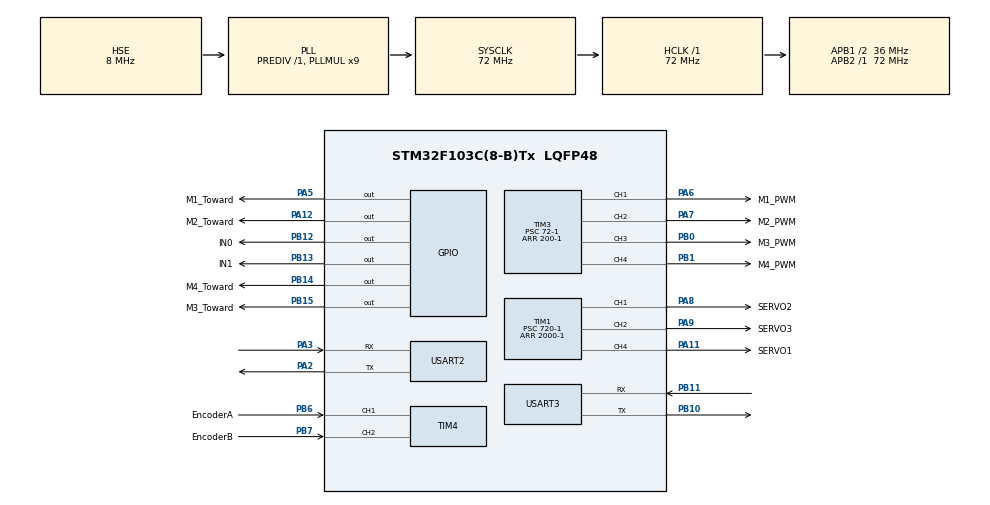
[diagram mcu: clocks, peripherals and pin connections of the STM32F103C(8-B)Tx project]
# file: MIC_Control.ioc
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Dma.Request0=USART2_RX
Dma.Request1=USART2_TX
Dma.Request2=USART3_RX
Dma.Request3=USART3_TX
Dma.USART2_RX.0.Direction=DMA_PERIPH_TO_MEMORY
Dma.USART2_RX.0.Instance=DMA1_Channel6
Dma.USART2_RX.0.MemDataAlignment=DMA_MDATAALIGN_BYTE
Dma.USART2_RX.0.MemInc=DMA_MINC_ENABLE
Dma.USART2_RX.0.Mode=DMA_NORMAL
Dma.USART2_RX.0.PeriphDataAlignment=DMA_PDATAALIGN_BYTE
Dma.USART2_RX.0.PeriphInc=DMA_PINC_DISABLE
Dma.USART2_RX.0.Priority=DMA_PRIORITY_LOW
Dma.USART2_TX.1.Direction=DMA_MEMORY_TO_PERIPH
Dma.USART2_TX.1.Instance=DMA1_Channel7
Dma.USART2_TX.1.MemDataAlignment=DMA_MDATAALIGN_BYTE
Dma.USART2_TX.1.MemInc=DMA_MINC_ENABLE
Dma.USART2_TX.1.Mode=DMA_NORMAL
Dma.USART2_TX.1.PeriphDataAlignment=DMA_PDATAALIGN_BYTE
Dma.USART2_TX.1.PeriphInc=DMA_PINC_DISABLE
Dma.USART2_TX.1.Priority=DMA_PRIORITY_LOW
Dma.USART3_RX.2.Direction=DMA_PERIPH_TO_MEMORY
Dma.USART3_RX.2.Instance=DMA1_Channel3
Dma.USART3_RX.2.MemDataAlignment=DMA_MDATAALIGN_BYTE
Dma.USART3_RX.2.MemInc=DMA_MINC_ENABLE
Dma.USART3_RX.2.Mode=DMA_NORMAL
Dma.USART3_RX.2.PeriphDataAlignment=DMA_PDATAALIGN_BYTE
Dma.USART3_RX.2.PeriphInc=DMA_PINC_DISABLE
Dma.USART3_RX.2.Priority=DMA_PRIORITY_LOW
Dma.USART3_TX.3.Direction=DMA_MEMORY_TO_PERIPH
Dma.USART3_TX.3.Instance=DMA1_Channel2
Dma.USART3_TX.3.MemDataAlignment=DMA_MDATAALIGN_BYTE
Dma.USART3_TX.3.MemInc=DMA_MINC_ENABLE
Dma.USART3_TX.3.Mode=DMA_NORMAL
Dma.USART3_TX.3.PeriphDataAlignment=DMA_PDATAALIGN_BYTE
Dma.USART3_TX.3.PeriphInc=DMA_PINC_DISABLE
Dma.USART3_TX.3.Priority=DMA_PRIORITY_LOW
Mcu.Family=STM32F1
Mcu.Name=STM32F103C(8-B)Tx
Mcu.Package=LQFP48
NVIC.DMA1_Channel2_IRQn=true\:0\:0\:false\:false\:true\:false\:true\:true
NVIC.DMA1_Channel3_IRQn=true\:0\:0\:false\:false\:true\:false\:true\:true
NVIC.DMA1_Channel6_IRQn=true\:0\:0\:false\:false\:true\:false\:true\:true
NVIC.DMA1_Channel7_IRQn=true\:0\:0\:false\:false\:true\:false\:true\:true
NVIC.PriorityGroup=NVIC_PRIORITYGROUP_4
NVIC.TIM2_IRQn=true\:0\:0\:false\:false\:true\:true\:true\:true
NVIC.USART2_IRQn=true\:0\:0\:true\:false\:true\:false\:true\:true
NVIC.USART3_IRQn=true\:2\:0\:true\:false\:true\:false\:true\:true
PA11.GPIO_Label=SERVO1
PA11.Signal=S_TIM1_CH4
PA12.GPIO_Label=M2_Toward
PA12.GPIO_PuPd=GPIO_PULLUP
PA12.GPIO_Speed=GPIO_SPEED_FREQ_HIGH
PA12.PinState=GPIO_PIN_RESET
PA12.Signal=GPIO_Output
PA13.Mode=Serial_Wire
PA13.Signal=SYS_JTMS-SWDIO
PA14.Mode=Serial_Wire
PA14.Signal=SYS_JTCK-SWCLK
PA2.Mode=Asynchronous
PA2.Signal=USART2_TX
PA3.Mode=Asynchronous
PA3.Signal=USART2_RX
PA5.GPIO_Label=M1_Toward
PA5.GPIO_PuPd=GPIO_PULLUP
PA5.GPIO_Speed=GPIO_SPEED_FREQ_HIGH
PA5.Signal=GPIO_Output
PA6.GPIO_Label=M1_PWM
PA6.Signal=S_TIM3_CH1
PA7.GPIO_Label=M2_PWM
PA7.Signal=S_TIM3_CH2
PA8.GPIO_Label=SERVO2
PA8.Signal=S_TIM1_CH1
PA9.GPIO_Label=SERVO3
PA9.Signal=S_TIM1_CH2
PB0.GPIO_Label=M3_PWM
PB0.Signal=S_TIM3_CH3
PB1.GPIO_Label=M4_PWM
PB1.Signal=S_TIM3_CH4
PB10.Mode=Asynchronous
PB10.Signal=USART3_TX
PB11.Mode=Asynchronous
PB11.Signal=USART3_RX
PB12.GPIO_Label=IN0
PB12.GPIO_ModeDefaultOutputPP=GPIO_MODE_OUTPUT_PP
PB12.GPIO_PuPd=GPIO_NOPULL
PB12.GPIO_Speed=GPIO_SPEED_FREQ_LOW
PB12.PinState=GPIO_PIN_SET
PB12.Signal=GPIO_Output
PB13.GPIO_Label=IN1
PB13.GPIO_ModeDefaultOutputPP=GPIO_MODE_OUTPUT_PP
PB13.GPIO_PuPd=GPIO_NOPULL
PB13.GPIO_Speed=GPIO_SPEED_FREQ_LOW
PB13.PinState=GPIO_PIN_SET
PB13.Signal=GPIO_Output
PB14.GPIO_Label=M4_Toward
PB14.GPIO_PuPd=GPIO_PULLUP
PB14.GPIO_Speed=GPIO_SPEED_FREQ_HIGH
PB14.Signal=GPIO_Output
PB15.GPIO_Label=M3_Toward
PB15.GPIO_PuPd=GPIO_PULLUP
PB15.GPIO_Speed=GPIO_SPEED_FREQ_HIGH
PB15.Signal=GPIO_Output
PB6.GPIO_Label=EncoderA
PB6.Signal=S_TIM4_CH1
PB7.GPIO_Label=EncoderB
PB7.Signal=S_TIM4_CH2
PD0-OSC_IN.Mode=HSE-External-Oscillator
PD0-OSC_IN.Signal=RCC_OSC_IN
PD1-OSC_OUT.Mode=HSE-External-Oscillator
PD1-OSC_OUT.Signal=RCC_OSC_OUT
ProjectManager.HeapSize=0x200
ProjectManager.StackSize=0x400
ProjectManager.TargetToolchain=MDK-ARM V5.32
RCC.AHBFreq_Value=72000000
RCC.APB1CLKDivider=RCC_HCLK_DIV2
RCC.APB1Freq_Value=36000000
RCC.APB1TimFreq_Value=72000000
RCC.APB2Freq_Value=72000000
RCC.APB2TimFreq_Value=72000000
RCC.HCLKFreq_Value=72000000
RCC.PLLMUL=RCC_PLL_MUL9
RCC.PLLSourceVirtual=RCC_PLLSOURCE_HSE
RCC.SYSCLKFreq_VALUE=72000000
RCC.SYSCLKSource=RCC_SYSCLKSOURCE_PLLCLK
RCC.USBFreq_Value=72000000
SH.S_TIM1_CH1.0=TIM1_CH1,PWM Generation1 CH1
SH.S_TIM1_CH2.0=TIM1_CH2,PWM Generation2 CH2
SH.S_TIM1_CH4.0=TIM1_CH4,PWM Generation4 CH4
SH.S_TIM3_CH1.0=TIM3_CH1,PWM Generation1 CH1
SH.S_TIM3_CH2.0=TIM3_CH2,PWM Generation2 CH2
SH.S_TIM3_CH3.0=TIM3_CH3,PWM Generation3 CH3
SH.S_TIM3_CH4.0=TIM3_CH4,PWM Generation4 CH4
SH.S_TIM4_CH1.0=TIM4_CH1,Encoder_Interface
SH.S_TIM4_CH2.0=TIM4_CH2,Encoder_Interface
TIM1.Channel-PWM\ Generation1\ CH1=TIM_CHANNEL_1
TIM1.Channel-PWM\ Generation2\ CH2=TIM_CHANNEL_2
TIM1.Channel-PWM\ Generation4\ CH4=TIM_CHANNEL_4
TIM1.Period=2000-1
TIM1.Prescaler=720-1
TIM2.Period=1000-1
TIM2.Prescaler=720-1
TIM3.Channel-PWM\ Generation1\ CH1=TIM_CHANNEL_1
TIM3.Channel-PWM\ Generation2\ CH2=TIM_CHANNEL_2
TIM3.Channel-PWM\ Generation3\ CH3=TIM_CHANNEL_3
TIM3.Channel-PWM\ Generation4\ CH4=TIM_CHANNEL_4
TIM3.OCMode_PWM-PWM\ Generation1\ CH1=TIM_OCMODE_PWM2
TIM3.OCMode_PWM-PWM\ Generation2\ CH2=TIM_OCMODE_PWM2
TIM3.OCMode_PWM-PWM\ Generation3\ CH3=TIM_OCMODE_PWM2
TIM3.OCMode_PWM-PWM\ Generation4\ CH4=TIM_OCMODE_PWM2
TIM3.Period=200-1
TIM3.Prescaler=72-1
TIM4.IC1Filter=15
TIM4.IC2Filter=15
USART2.VirtualMode=VM_ASYNC
USART3.VirtualMode=VM_ASYNC
VP_TIM2_VS_ClockSourceINT.Mode=Internal
VP_TIM3_VS_ClockSourceINT.Mode=Internal
board=custom

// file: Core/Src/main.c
/* USER CODE BEGIN Header */
/**
 ******************************************************************************
 * @file           : main.c
 * @brief          : Main program body
 ******************************************************************************
 * @attention
 *
 * Copyright (c) 2024 STMicroelectronics.
 * All rights reserved.
 *
 * This software is licensed under terms that can be found in the LICENSE file
 * in the root directory of this software component.
 * If no LICENSE file comes with this software, it is provided AS-IS.
 *
 ******************************************************************************
 */
/* USER CODE END Header */
#include "main.h"
#include "dma.h"
#include "tim.h"
#include "usart.h"
#include "gpio.h"

/* USER CODE BEGIN Includes */
#include "ESP32.h"
#include "Motor.h"
#include "UART_ROS.h"
#include "Car_Solution.h"

//test
#include <stdio.h>
#include <string.h>

char TestSpeed[20];
//test

/* USER CODE END Includes */

void SystemClock_Config(void);

/* USER CODE BEGIN 0 */
uint8_t flag_TIM = 0; // 记录定时器现在是否空闲
int8_t Count_Motor;
int CC;

// 重写HAL_InTick函数，用于ROS信息的定时请求
uint8_t Tick = 0,Count_ESP = 0;
uint8_t Ros_Receive_Error;

//float Kp = 24.5,Ki = 9.0,Kd = 19.5;

void HAL_IncTick(void)
{

  uwTick += uwTickFreq;
  Tick++;

  if (Tick >= 5)
  {
    Tick = 0;

    // 自动模式下，才进行数据请求
    if (NowMode == 0)
    {
      Get_RosData();
      //HAL_UART_Receive_DMA(&huart3, ROS_ReceiveData, 4);
    }
  }
}

void HAL_TIM_PeriodElapsedCallback(TIM_HandleTypeDef *htim)
{
  // 进入定时器测速
  if (htim == &htim2)
  {
    HAL_TIM_Base_Stop_IT(&htim2);
    Count_Motor = __HAL_TIM_GetCounter(&htim4);

    if (M0 == &M2 || M0 == &M3)
      Count_Motor = -Count_Motor;

    //M0->flag  = Count_Motor > 0 ? 1 : 0;      已经删了flag
    //M0->Last_Speed = M0->Speed;
    //M0->Speed = Count_Motor;                      // 记录的是10ms内的脉冲数
    //M0->Speed = (M0->Speed + M0->Last_Speed) / 2; // 采用均值滤波，防止应定时器开启时机造成的测速偏差
//
//		M0->Speed[0] = M0->Speed[1];
//		M0->Speed[1] = M0->Speed[2];
//		M0->Speed[2] = M0->Speed[3];
//		M0->Speed[3] = Count_Motor;
//		//4作为临界，小于4的转速是无法直接均值滤波出来的
//		if(M0->Speed[3] > 4){
//			M0->Speed[3] = (M0->Speed[0] + M0->Speed[1] + M0->Speed[2] + M0->Speed[3])/4;
//		}
		M0->Speed[3] = Count_Motor;

		//M0->Speed[3] = Count_Motor;

    PI_Motor(M0);
		flag_TIM = 0;

  }
}

void HAL_UART_RxCpltCallback(UART_HandleTypeDef *huart)
{
  // ESP32遥感数据
  if (huart == &huart2)
  {
    if (ESP32_Data[0] != 0xA5 && ESP32_Data[4] != 0x5A)
    {
      HAL_NVIC_SystemReset(); // 第一帧接收数据帧错误时重启，重启，实现缓冲区清空缓冲区，可能会引起问题
                              // 方法二，写一个数据缓冲区，有点麻烦
			//HAL_UART_ClearReceiveBuffer(&huart2);
    }
    else
    {
      //ESP32_Analysis();
			ESP32_Analysis();
      HAL_UART_Receive_DMA(&huart2, ESP32_Data, 5); //UART自带缓冲区，DMA与IT效果一样，若CPU占用高，对缓冲区内数据处理慢，则会覆盖
																										//以下两行注释错误
																										// 中断接受ESP32数据，不要用DMA，连续多次发送会造成buff覆盖
                                                    // 使用中断模式，则会一直接收到5个后，才释放串口状态，再开启，我猜
    }
  }
  // 上位机数据
  if (huart == &huart3)
  {

	  if(ROS_ReceiveData[0] != 0xA5 || ROS_ReceiveData[3] != 0x5A){
			HAL_Delay(1);
		}
		else{
			ROS_DataAnalysis();
		}
		HAL_UART_Receive_DMA(&huart3, ROS_ReceiveData, 4);
		//记得删
		//HAL_UART_Transmit_DMA(&huart3, ROS_ReceiveData, 4);
		//HAL_UART_Receive_DMA(&huart3, ROS_ReceiveData, 4);
    // HAL_UART_Receive_DMA(&huart3,ROS_ReceiveData,100);        //数据处理后再次开启接受 不一定要开
  }
}
/* USER CODE END 0 */

int main(void)
{

  /* MCU Configuration--------------------------------------------------------*/

  /* Reset of all peripherals, Initializes the Flash interface and the Systick. */
  HAL_Init();

  /* Configure the system clock */
  SystemClock_Config();

  /* Initialize all configured peripherals */
  MX_GPIO_Init();
  MX_DMA_Init();
  MX_USART2_UART_Init();
  MX_TIM1_Init();
  MX_TIM2_Init();
  MX_TIM3_Init();
  MX_TIM4_Init();
  MX_USART3_UART_Init();
  /* USER CODE BEGIN 2 */
  HAL_UART_Receive_DMA(&huart2, ESP32_Data, 5); // 开启与ESP32的通信接收

  Struct_Init(); // 对电机结构体状态的初始化
  Motor_Init();         // 开启电机四路PWM
  Servo_Init();         // 初始化舵机，开启PWM

  HAL_TIM_Encoder_Start(&htim4, TIM_CHANNEL_ALL); // 编码器测速通道开启

  __HAL_TIM_SetCompare(&htim3, TIM_CHANNEL_1, 0);
  __HAL_TIM_SetCompare(&htim3, TIM_CHANNEL_2, 0);
  __HAL_TIM_SetCompare(&htim3, TIM_CHANNEL_3, 0);
  __HAL_TIM_SetCompare(&htim3, TIM_CHANNEL_4, 0);

	//HAL_UART_Receive_IT(&huart3, ROS_ReceiveData, 4);
	//记得删！！
	HAL_UART_Receive_DMA(&huart3, ROS_ReceiveData, 4);
  //__HAL_TIM_SetCompare(&htim)
  /* USER CODE END 2 */

  /* Infinite loop */
  /* USER CODE BEGIN WHILE */
  while (1)
  {
		//flag_Mode
		if(NowMode == 1){

		}

    if (flag_TIM == 0 && NowMode == 0)
		//if (flag_TIM == 0)
    {
      flag_TIM = 1; // 定时器被占用

      if (Now_Motor == 1)
      {
        Now_Motor++;
        // 444模拟开关切换
        HAL_GPIO_WritePin(GPIOB, GPIO_PIN_12, GPIO_PIN_SET);
        HAL_GPIO_WritePin(GPIOB, GPIO_PIN_13, GPIO_PIN_SET);
				HAL_Delay(1);
        Get_Speed(&M1);

      }
      else if (Now_Motor == 2)
      {
        Now_Motor = 1;
        // 444模拟开关切换
        HAL_GPIO_WritePin(GPIOB, GPIO_PIN_12, GPIO_PIN_RESET);
        HAL_GPIO_WritePin(GPIOB, GPIO_PIN_13, GPIO_PIN_SET);
				HAL_Delay(1);
        Get_Speed(&M2);
      }
    }
    /* USER CODE END WHILE */

    /* USER CODE BEGIN 3 */
		//PID_SET   TEST记得删
		//PID_SET(Kp,Ki,Kd);
		//
  /* USER CODE END 3 */
	}
}

void SystemClock_Config(void)
{
  RCC_OscInitTypeDef RCC_OscInitStruct = {0};
  RCC_ClkInitTypeDef RCC_ClkInitStruct = {0};

  /** Initializes the RCC Oscillators according to the specified parameters
  * in the RCC_OscInitTypeDef structure.
  */
  RCC_OscInitStruct.OscillatorType = RCC_OSCILLATORTYPE_HSE;
  RCC_OscInitStruct.HSEState = RCC_HSE_ON;
  RCC_OscInitStruct.HSEPredivValue = RCC_HSE_PREDIV_DIV1;
  RCC_OscInitStruct.HSIState = RCC_HSI_ON;
  RCC_OscInitStruct.PLL.PLLState = RCC_PLL_ON;
  RCC_OscInitStruct.PLL.PLLSource = RCC_PLLSOURCE_HSE;
  RCC_OscInitStruct.PLL.PLLMUL = RCC_PLL_MUL9;
  if (HAL_RCC_OscConfig(&RCC_OscInitStruct) != HAL_OK)
  {
    Error_Handler();
  }

  /** Initializes the CPU, AHB and APB buses clocks
  */
  RCC_ClkInitStruct.ClockType = RCC_CLOCKTYPE_HCLK|RCC_CLOCKTYPE_SYSCLK
                              |RCC_CLOCKTYPE_PCLK1|RCC_CLOCKTYPE_PCLK2;
  RCC_ClkInitStruct.SYSCLKSource = RCC_SYSCLKSOURCE_PLLCLK;
  RCC_ClkInitStruct.AHBCLKDivider = RCC_SYSCLK_DIV1;
  RCC_ClkInitStruct.APB1CLKDivider = RCC_HCLK_DIV2;
  RCC_ClkInitStruct.APB2CLKDivider = RCC_HCLK_DIV1;

  if (HAL_RCC_ClockConfig(&RCC_ClkInitStruct, FLASH_LATENCY_2) != HAL_OK)
  {
    Error_Handler();
  }
}

void Error_Handler(void)
{
  __disable_irq();
  while (1)
  {
  }
}
